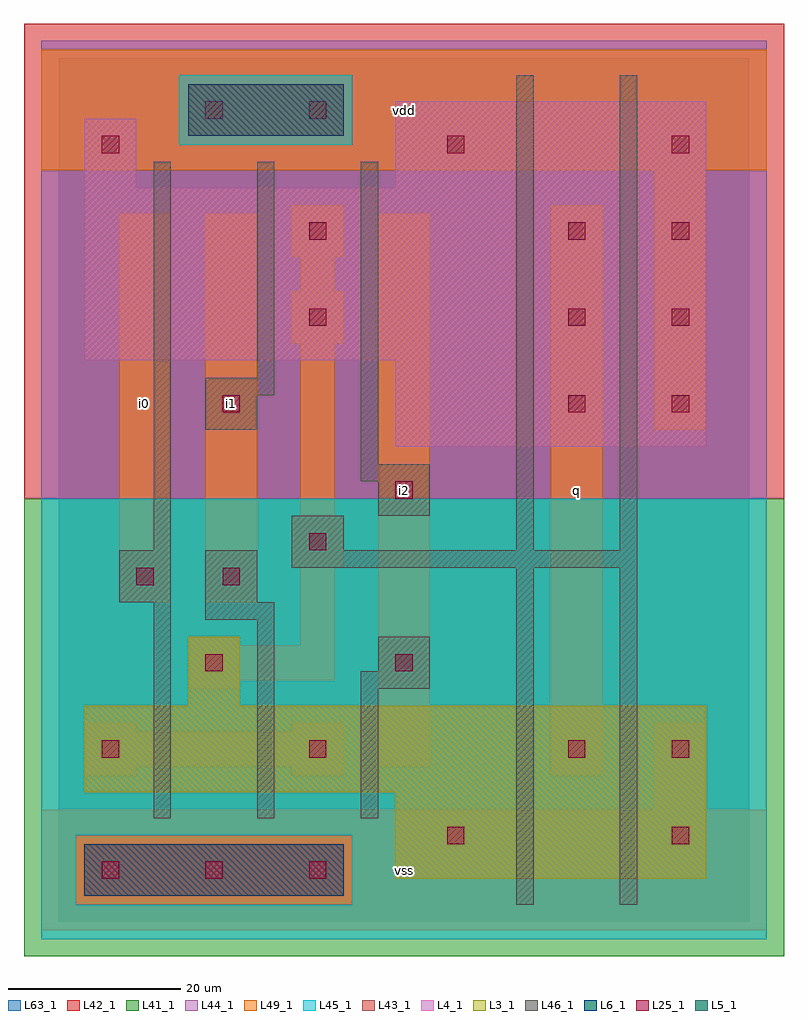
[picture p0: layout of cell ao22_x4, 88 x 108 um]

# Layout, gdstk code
import gdstk
lib = gdstk.Library(unit=1e-6, precision=1e-09)
def R(c, l, rs):  # rectangles x0, y0, x1, y1
    for r in rs: c.add(gdstk.rectangle(r[:2], r[2:], *l))
def A(c, l, x, y, w, h, nx, ny, dx, dy):  # array of equal rectangles
    R(c, l, [(x+i*dx, y+j*dy, x+i*dx+w, y+j*dy+h) for i in range(nx) for j in range(ny)])
L3_1 = (3, 1)
L4_1 = (4, 1)
L5_1 = (5, 1)
L6_1 = (6, 1)
L25_1 = (25, 1)
L41_1 = (41, 1)
L42_1 = (42, 1)
L43_1 = (43, 1)
L44_1 = (44, 1)
L45_1 = (45, 1)
L46_1 = (46, 1)
L49_1 = (49, 1)
L63_1 = (63, 1)

ao22_x4 = lib.new_cell('ao22_x4')
R(ao22_x4, L3_1, [(39,5,75,15), (3,15,75,25), (15,25,21,33)])
R(ao22_x4, L4_1, [(39,55,75,65), (3,65,75,85), (3,85,9,93), (39,85,75,95)])
R(ao22_x4, L5_1, [(15,91,33,97)])
R(ao22_x4, L6_1, [(3,3,33,9)])
A(ao22_x4, L25_1, 5, 5, 2, 2, 3, 1, 12, 0)
A(ao22_x4, L25_1, 59, 59, 2, 2, 1, 3, 0, 10)
A(ao22_x4, L25_1, 71, 59, 2, 2, 1, 4, 0, 10)
R(ao22_x4, L25_1, [(45,9,47,11), (71,9,73,11), (5,19,7,21), (29,19,31,21), (59,19,61,21), (71,19,73,21), (17,29,19,31), (39,29,41,31), (9,39,11,41), (19,39,21,41), (29,43,31,45), (39,49,41,51), (19,59,21,61), (29,69,31,71), (29,79,31,81), (5,89,7,91), (45,89,47,91), (17,93,19,95), (29,93,31,95)])
R(ao22_x4, L41_1, [(-4,-4,84,49)])
R(ao22_x4, L42_1, [(-4,49,84,104)])
R(ao22_x4, L43_1, [(3,3,33,9), (39,5,75,15), (3,15,75,25), (15,25,21,33), (39,55,75,65), (3,65,75,85), (3,85,9,93), (39,85,75,95), (15,91,33,97)])
R(ao22_x4, L44_1, [(2,2,34,10), (-2,49,82,90), (-2,90,14,98), (34,90,82,98), (-2,98,82,102)])
R(ao22_x4, L45_1, [(-2,-2,82,2), (-2,2,2,10), (34,2,82,10), (-2,10,82,49), (14,90,34,98)])
R(ao22_x4, L46_1, [(53,2,55,41), (65,2,67,41), (11,12,13,37), (23,12,25,35), (35,12,37,27), (35,27,43,29), (37,29,43,33), (17,35,25,37), (7,37,13,43), (17,37,23,43), (27,41,67,43), (11,43,13,88), (27,43,33,47), (53,43,55,98), (65,43,67,98), (37,47,43,51), (35,51,43,53), (35,53,37,88), (17,57,23,61), (17,61,25,63), (23,63,25,88)])
R(ao22_x4, L49_1, [(-2,-1,82,13), (69,13,75,23), (3,17,9,18), (27,17,33,18), (57,17,63,83), (3,18,33,22), (37,18,43,82), (3,22,9,23), (27,22,33,23), (15,27,21,28), (15,28,32,32), (15,32,21,33), (28,32,32,41), (7,37,13,82), (17,37,23,82), (27,41,33,47), (28,47,32,67), (69,57,75,87), (27,67,33,73), (28,73,32,77), (27,77,33,83), (-2,87,82,101)])
R(ao22_x4, L63_1, [(0,0,80,100)])
ao22_x4.add(gdstk.Label('i0', (10,60), layer=49, texttype=1))
ao22_x4.add(gdstk.Label('i0', (10,60), layer=49, texttype=1))
ao22_x4.add(gdstk.Label('i1', (20,60), layer=49, texttype=1))
ao22_x4.add(gdstk.Label('i1', (20,60), layer=49, texttype=1))
ao22_x4.add(gdstk.Label('vss', (40,6), layer=49, texttype=1))
ao22_x4.add(gdstk.Label('vss', (40,6), layer=49, texttype=1))
ao22_x4.add(gdstk.Label('q', (60,50), layer=49, texttype=1))
ao22_x4.add(gdstk.Label('q', (60,50), layer=49, texttype=1))
ao22_x4.add(gdstk.Label('i2', (40,50), layer=49, texttype=1))
ao22_x4.add(gdstk.Label('i2', (40,50), layer=49, texttype=1))
ao22_x4.add(gdstk.Label('vdd', (40,94), layer=49, texttype=1))
ao22_x4.add(gdstk.Label('vdd', (40,94), layer=49, texttype=1))

lib.write_gds('ao22_x4.gds')
